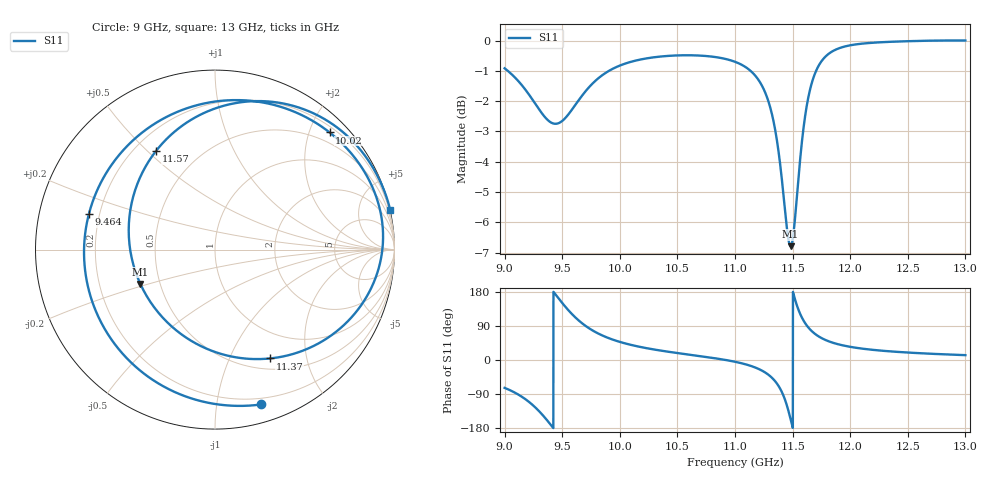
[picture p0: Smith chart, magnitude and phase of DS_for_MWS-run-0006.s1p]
! TOUCHSTONE file generated by CST DESIGN STUDIO
! Date and time: Tue Jan 28 13:43:17 2025
! Project name: C:\Work\MatlabApps\UnitCellOptimizationMatlab\CST\unitcell.cst
! Tree item: Tasks\Sweep1\SPara1\S-Parameters
! Header version: 2024
! Port assignment regex: !\s*Touchstone port\s*([0-9]+)\s*=\s*(CST MWS port|CST DES external port|CST DES block port)\s*(.+)\s* \(\"(.*)\"\)(\s*mode\s*([0-9]+))?.*
! Touchstone port assignment:
! Touchstone port 1 = CST DES external port 1 ("")
# GHz S MA R 50
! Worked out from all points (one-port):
!   4001 points, 9 GHz to 13 GHz, reference 50 ohm
!   lowest |S11| = -6.8 dB at 11.48 GHz (marker M1), VSWR 2.69, Z = 19.4 - j9.4 ohm
!   |S11| at or under -10 dB: nowhere
!   S11 on the Smith chart (normalised r, x): 9 GHz: 0.15, -1.33; 9.464 GHz: 0.16, +0.13; 10.02 GHz: 0.30, +2.34; 11.37 GHz: 0.64, -1.43; 11.57 GHz: 0.29, +0.53; 13 GHz: -0.01, +8.91
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9  0.9 -73.5
9.14  0.8483 -95.1
9.245  0.7975 -119.1
9.368  0.7413 -158.7
9.464  0.73 164.3
9.5  0.7367 150.5
9.593  0.7731 118.6
9.69  0.8192 92.9
9.837  0.8736 66.3
10  0.9093 47.8
10.024  0.913 45.6
10.229  0.9343 31.4
10.5  0.9451 18.3
11  0.9225 -4.7
11.229  0.8459 -27.1
11.303  0.7789 -42.1
11.366  0.6804 -63.0
11.427  0.5413 -99.0
11.482  0.4578 -155.2
11.5  0.469 -176.7
11.531  0.5346 149.9
11.567  0.641 120.7
11.638  0.8084 85.4
11.746  0.9217 58.7
11.853  0.9617 45.2
12  0.9822 34.8
12.5  0.9976 19.7
13  1 12.8
